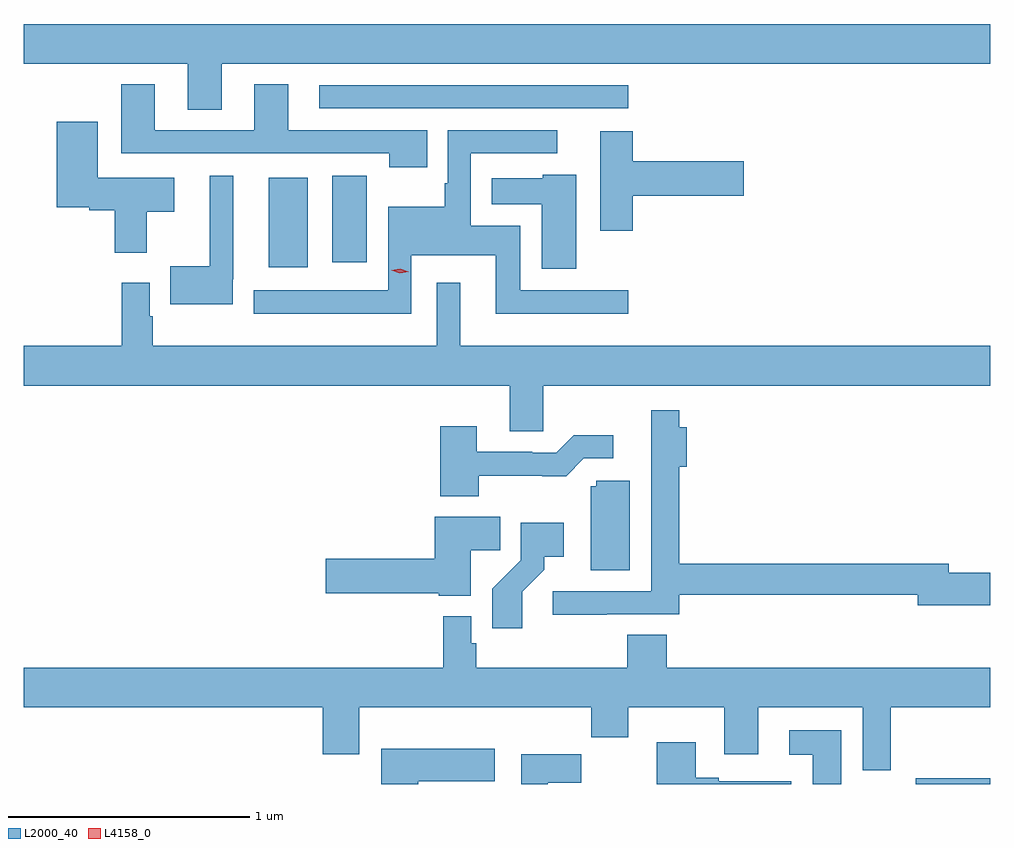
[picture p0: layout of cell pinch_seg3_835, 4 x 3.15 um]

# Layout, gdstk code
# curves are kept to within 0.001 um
import gdstk
lib = gdstk.Library(unit=1e-6, precision=1e-09)
def R(c, l, rs):  # rectangles x0, y0, x1, y1
    for r in rs: c.add(gdstk.rectangle(r[:2], r[2:], *l))
def P(c, l, *ps):  # polygons
    for p in ps: c.add(gdstk.Polygon(p, *l))
L2000_40 = (2000, 40)
L4158_0 = (4158, 0)

pinch_seg3_835 = lib.new_cell('pinch_seg3_835')
R(pinch_seg3_835, L2000_40, [(735.21,739.227,735.518,739.251), (732.533,741.366,732.694,741.736), (732.794,741.387,732.937,741.745), (732.741,742.023,734.02,742.119)])
P(pinch_seg3_835, L2000_40, [(732.337,742.208),(735.518,742.208),(735.518,742.372),(731.518,742.372),(731.518,742.208),(732.197,742.208),(732.197,742.018),(732.337,742.018)],
  [(733.187,741.933),(732.613,741.933),(732.613,742.123),(732.473,742.123),(732.473,741.933),(732.061,741.933),(732.061,742.123),(731.921,742.123),(731.921,741.837),(733.031,741.837),(733.031,741.78),(733.187,741.78)],
  [(732.028,741.596),(732.142,741.596),(732.142,741.736),(731.824,741.736),(731.824,741.967),(731.654,741.967),(731.654,741.614),(731.79,741.614),(731.79,741.602),(731.894,741.602),(731.894,741.426),(732.028,741.426)],
  [(733.122,741.416),(733.472,741.416),(733.472,741.173),(734.02,741.173),(734.02,741.27),(733.573,741.27),(733.573,741.538),(733.368,741.538),(733.368,741.837),(733.726,741.837),(733.726,741.933),(733.272,741.933),(733.272,741.712),(733.26,741.712),(733.26,741.616),(733.026,741.616),(733.026,741.27),(732.469,741.27),(732.469,741.173),(733.122,741.173)],
  [(734.039,741.662),(734.497,741.662),(734.497,741.804),(734.039,741.804),(734.039,741.928),(733.904,741.928),(733.904,741.516),(734.039,741.516)],
  [(733.804,741.748),(733.665,741.748),(733.665,741.733),(733.455,741.733),(733.455,741.626),(733.661,741.626),(733.661,741.36),(733.804,741.36)],
  [(732.384,741.316),(732.385,741.316),(732.385,741.745),(732.287,741.745),(732.287,741.37),(732.124,741.37),(732.124,741.212),(732.384,741.212)],
  [(733.324,741.301),(733.227,741.301),(733.227,741.04),(732.052,741.04),(732.052,741.162),(732.039,741.162),(732.039,741.301),(731.923,741.301),(731.923,741.04),(731.518,741.04),(731.518,740.876),(733.529,740.876),(733.529,740.686),(733.668,740.686),(733.668,740.876),(735.518,740.876),(735.518,741.04),(733.324,741.04)],
  [(733.931,739.929),(734.231,739.929),(734.231,740.01),(735.218,740.01),(735.218,739.967),(735.518,739.967),(735.518,740.102),(735.346,740.102),(735.346,740.138),(734.231,740.138),(734.231,740.539),(734.261,740.539),(734.261,740.704),(734.231,740.704),(734.231,740.773),(734.114,740.773),(734.114,740.55),(734.115,740.55),(734.115,740.025),(733.707,740.025),(733.707,739.927),(733.931,739.927)],
  [(733.401,740.502),(733.763,740.501),(733.836,740.574),(733.957,740.574),(733.957,740.671),(733.795,740.671),(733.722,740.598),(733.622,740.598),(733.622,740.601),(733.393,740.601),(733.393,740.707),(733.241,740.707),(733.241,740.417),(733.401,740.417)],
  [(734.026,740.481),(733.887,740.481),(733.887,740.46),(733.865,740.46),(733.865,740.112),(734.026,740.112)],
  [(733.369,740.194),(733.49,740.194),(733.49,740.332),(733.22,740.332),(733.22,740.159),(732.768,740.159),(732.768,740.017),(733.236,740.017),(733.236,740.006),(733.369,740.006)],
  [(733.582,740.023),(733.672,740.113),(733.672,740.168),(733.753,740.168),(733.753,740.308),(733.575,740.308),(733.575,740.153),(733.456,740.034),(733.456,739.872),(733.582,739.872)],
  [(731.518,739.544),(732.755,739.544),(732.755,739.35),(732.907,739.35),(732.907,739.544),(733.867,739.544),(733.867,739.42),(734.019,739.42),(734.019,739.544),(734.417,739.544),(734.417,739.35),(734.557,739.35),(734.557,739.544),(734.991,739.544),(734.991,739.284),(735.107,739.284),(735.107,739.544),(735.518,739.544),(735.518,739.708),(734.18,739.708),(734.18,739.844),(734.015,739.844),(734.015,739.708),(733.391,739.708),(733.391,739.809),(733.371,739.809),(733.371,739.921),(733.255,739.921),(733.255,739.708),(731.518,739.708)],
  [(734.902,739.45),(734.685,739.45),(734.685,739.349),(734.783,739.349),(734.783,739.227),(734.902,739.227)],
  [(734.695,739.239),(734.395,739.239),(734.395,739.252),(734.299,739.252),(734.299,739.399),(734.138,739.399),(734.138,739.227),(734.695,739.227)],
  [(733.15,739.238),(733.468,739.238),(733.468,739.372),(732.998,739.372),(732.998,739.227),(733.15,739.227)],
  [(733.687,739.232),(733.826,739.232),(733.826,739.351),(733.577,739.351),(733.577,739.227),(733.687,739.227)])
P(pinch_seg3_835, L4158_0, [(733.074,741.34),(733.039,741.352),(733.039,741.352),(733.039,741.352),(733.076,741.36),(733.111,741.347),(733.111,741.347),(733.111,741.347)])

lib.write_gds('pinch_seg3_835.gds')
